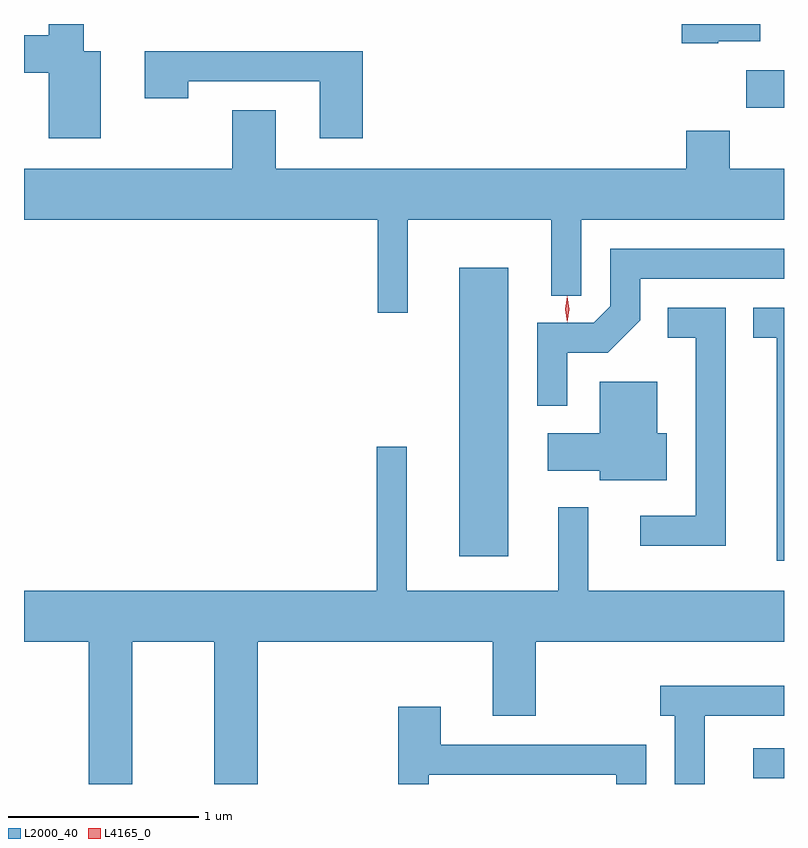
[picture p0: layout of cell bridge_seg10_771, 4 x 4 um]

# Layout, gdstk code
import gdstk
lib = gdstk.Library(unit=1e-6, precision=1e-09)
def R(c, l, rs):  # rectangles x0, y0, x1, y1
    for r in rs: c.add(gdstk.rectangle(r[:2], r[2:], *l))
def P(c, l, *ps):  # polygons
    for p in ps: c.add(gdstk.Polygon(p, *l))
L2000_40 = (2000, 40)
L4165_0 = (4165, 0)

bridge_seg10_771 = lib.new_cell('bridge_seg10_771')
R(bridge_seg10_771, L2000_40, [(505.383,2126.516,505.545,2126.674), (503.836,2127.686,504.094,2129.204), (505.346,2130.046,505.545,2130.244)])
P(bridge_seg10_771, L2000_40, [(501.949,2130.344),(501.859,2130.344),(501.859,2130.487),(501.676,2130.487),(501.676,2130.429),(501.545,2130.429),(501.545,2130.231),(501.676,2130.231),(501.676,2129.886),(501.949,2129.886)],
  [(505.2,2130.396),(505.419,2130.396),(505.419,2130.487),(505.006,2130.487),(505.006,2130.386),(505.2,2130.386)],
  [(503.329,2130.344),(502.181,2130.344),(502.181,2130.096),(502.409,2130.096),(502.409,2130.186),(503.101,2130.186),(503.101,2129.886),(503.329,2129.886)],
  [(503.564,2129.456),(504.321,2129.456),(504.321,2129.058),(504.479,2129.058),(504.479,2129.456),(505.545,2129.456),(505.545,2129.724),(505.259,2129.724),(505.259,2129.924),(505.031,2129.924),(505.031,2129.724),(502.869,2129.724),(502.869,2130.034),(502.641,2130.034),(502.641,2129.724),(501.545,2129.724),(501.545,2129.456),(503.406,2129.456),(503.406,2128.968),(503.564,2128.968)],
  [(504.404,2128.756),(504.617,2128.756),(504.789,2128.929),(504.789,2129.146),(505.545,2129.146),(505.545,2129.304),(504.631,2129.304),(504.631,2129.002),(504.544,2128.914),(504.246,2128.914),(504.246,2128.478),(504.404,2128.478)],
  [(505.239,2128.994),(504.933,2128.994),(504.933,2128.836),(505.081,2128.836),(505.081,2127.899),(504.788,2127.899),(504.788,2127.741),(505.239,2127.741)],
  [(505.545,2128.994),(505.383,2128.994),(505.383,2128.836),(505.506,2128.836),(505.506,2127.661),(505.545,2127.661)],
  [(504.929,2128.334),(504.879,2128.334),(504.879,2128.604),(504.576,2128.604),(504.576,2128.334),(504.301,2128.334),(504.301,2128.136),(504.576,2128.136),(504.576,2128.086),(504.929,2128.086)],
  [(502.114,2127.236),(502.546,2127.236),(502.546,2126.487),(502.774,2126.487),(502.774,2127.236),(504.011,2127.236),(504.011,2126.846),(504.239,2126.846),(504.239,2127.236),(505.545,2127.236),(505.545,2127.504),(504.514,2127.504),(504.514,2127.943),(504.356,2127.943),(504.356,2127.504),(503.559,2127.504),(503.559,2128.263),(503.401,2128.263),(503.401,2127.504),(501.545,2127.504),(501.545,2127.236),(501.886,2127.236),(501.886,2126.487),(502.114,2126.487)],
  [(505.129,2126.846),(505.545,2126.846),(505.545,2127.004),(504.893,2127.004),(504.893,2126.846),(504.971,2126.846),(504.971,2126.487),(505.129,2126.487)],
  [(503.674,2126.536),(504.661,2126.536),(504.661,2126.487),(504.819,2126.487),(504.819,2126.694),(503.739,2126.694),(503.739,2126.894),(503.516,2126.894),(503.516,2126.487),(503.674,2126.487)])
P(bridge_seg10_771, L4165_0, [(504.404,2128.917),(504.394,2128.986),(504.403,2129.055),(504.403,2129.056),(504.404,2129.055),(504.414,2128.986),(504.405,2128.917),(504.405,2128.917)],
  [(504.405,2128.919),(504.404,2128.92),(504.394,2128.986),(504.403,2129.052),(504.403,2129.052),(504.404,2129.052),(504.414,2128.986),(504.405,2128.92)])

lib.write_gds('bridge_seg10_771.gds')
